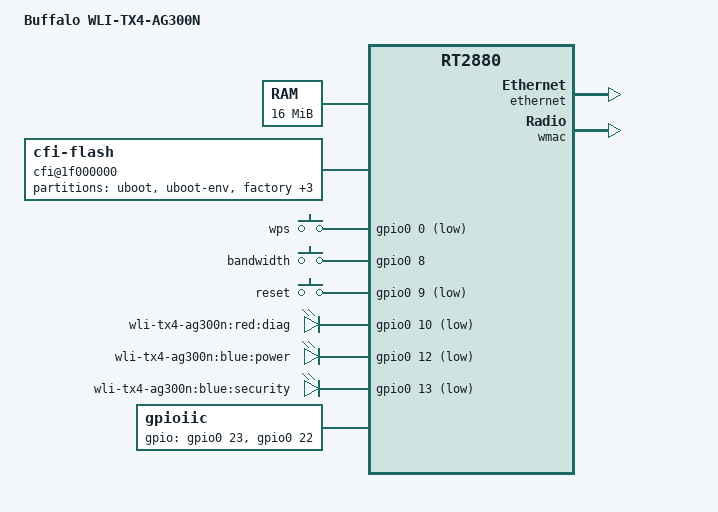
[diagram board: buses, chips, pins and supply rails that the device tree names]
/dts-v1/;

#include "rt2880.dtsi"

/ {
	#address-cells = <1>;
	#size-cells = <1>;
	compatible = "WLI-TX4-AG300N", "ralink,rt2880-soc";
	model = "Buffalo WLI-TX4-AG300N";

	memory@0 {
		device_type = "memory";
		reg = <0x8000000 0x1000000>;
	};

	cfi@1f000000 {
		compatible = "cfi-flash";
		reg = <0x1f000000 0x800000>;
		bank-width = <2>;
		device-width = <2>;
		#address-cells = <1>;
		#size-cells = <1>;

		partition@0 {
			label = "uboot";
			reg = <0x0 0x30000>;
			read-only;
		};

		partition@30000 {
			label = "uboot-env";
			reg = <0x30000 0x10000>;
			read-only;
		};

		factory: partition@40000 {
			label = "factory";
			reg = <0x40000 0x10000>;
			read-only;
		};

		partition@50000 {
			label = "kernel";
			reg = <0x50000 0x100000>;
		};

		partition@150000 {
			label = "rootfs";
			reg = <0x150000 0x2b0000>;
		};

		partition@3b0000 {
			label = "upgrade";
			reg = <0x50000 0x3b0000>;
		};
	};

	gpio-keys-polled {
		compatible = "gpio-keys-polled";
		#address-cells = <1>;
		#size-cells = <0>;
		poll-interval = <100>;

		wps {
			label = "wps";
			gpios = <&gpio0 0 1>;
			linux,code = <0x211>;
		};

		bandwidth {
			label = "bandwidth";
			gpios = <&gpio0 8 0>;
			linux,code = <0x198>;
		};

		reset {
			label = "reset";
			gpios = <&gpio0 9 1>;
			linux,code = <0x198>;
		};
	};

	gpio-leds {
		compatible = "gpio-leds";

		diag {
			label = "wli-tx4-ag300n:red:diag";
			gpios = <&gpio0 10 1>;
		};

		power {
			label = "wli-tx4-ag300n:blue:power";
			gpios = <&gpio0 12 1>;
		};

		security {
			label = "wli-tx4-ag300n:blue:security";
			gpios = <&gpio0 13 1>;
		};
	};

        gpioiic {
                compatible = "gpioiic";
                gpios = <&gpio0 23 0
                        &gpio0 22 0>;
                gpio-names = "scl", "sda";
        };

	rtl8366rb {
		compatible = "realtek,rtl8366rb";
	};
};

&gpio0 {
	status = "okay";
};

/*
&i2c {
	status = "okay";
};
*/

&ethernet {
	status = "okay";
	mtd-mac-address = <&factory 0x4>;

	port@0 {
		mediatek,fixed-link = <1000 1 1 1>;
	};
};

&wmac {
	ralink,mtd-eeprom = <&factory 0>;
};

&pinctrl {
	state_default: pinctrl0 {
		gpio {
			ralink,group = "mdio", "spi", "uartf";
			ralink,function = "gpio";
		};

/*
		rgmii {
			ralink,group = "rgmii";
			ralink,function = "rgmii";
		};

		mdio {
			ralink,group = "mdio";
			ralink,function = "mdio";
		};

		i2c {
			ralink,group = "i2c";
			ralink,function = "i2c";
		};
*/
	};
};
